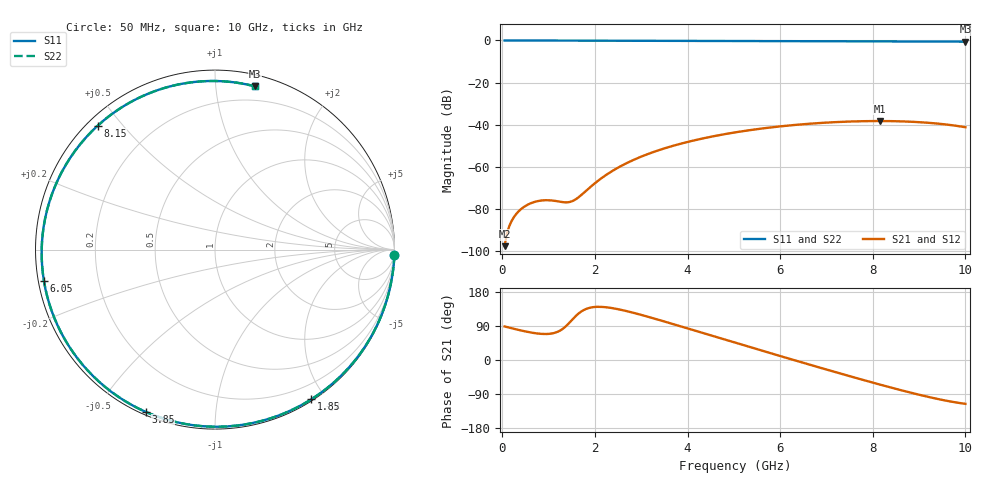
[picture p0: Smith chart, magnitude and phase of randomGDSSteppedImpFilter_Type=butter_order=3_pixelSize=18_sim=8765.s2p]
! freq	dB(S11)	phase(S11)	dB(S12)	phase(S12)
!  dB(S21)	phase(S21)	dB(S22)	phase(S22)
!S-par simulation data
#  GHz  S  DB  R 50
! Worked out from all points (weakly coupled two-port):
!   200 points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, 50 MHz to 10 GHz, reference 50 ohm
!   highest |S21| = -38.20 dB at 8.15 GHz (marker M1); lowest = -97.5 dB at 50 MHz (marker M2)
!   lowest |S11| = -0.6 dB at 10 GHz (marker M3), VSWR 30.40, Z = 4.31 + j63.6 ohm
!   |S11| at or under -10 dB: nowhere
!   |S22| runs from -0.6 to 0.0 dB; largest |S21 - S12| = 0
!   S11 on the Smith chart (normalised r, x): 50 MHz: 0, -71; 1.85 GHz: 0.02, -1.83; 3.85 GHz: 0.01, -0.66; 6.05 GHz: 0.02, -0.09; 8.15 GHz: 0.03, +0.43; 10 GHz: 0.09, +1.27
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0.05  -0.00 -1.6  -97.52 88.5  -97.52 88.5  -0.00 -1.6
0.4  -0.02 -12.7  -80.05 78.0  -80.05 78.0  -0.02 -12.7
0.6  -0.03 -19.0  -77.32 72.9  -77.32 72.9  -0.03 -19.0
0.85  -0.03 -26.8  -75.86 68.9  -75.86 68.9  -0.03 -26.8
1.45  -0.06 -45.3  -76.60 98.4  -76.60 98.4  -0.06 -45.3
1.6  -0.06 -49.8  -75.10 117.6  -75.10 117.6  -0.06 -49.8
1.75  -0.07 -54.3  -72.43 131.3  -72.43 131.3  -0.07 -54.3
1.85  -0.07 -57.3  -70.48 136.5  -70.48 136.5  -0.07 -57.3
2.2  -0.09 -67.5  -64.38 139.7  -64.38 139.7  -0.09 -67.6
2.55  -0.10 -77.6  -59.69 132.8  -59.69 132.8  -0.10 -77.6
2.95  -0.11 -88.8  -55.52 120.7  -55.52 120.7  -0.11 -88.8
3.4  -0.13 -101.1  -51.87 105.2  -51.87 105.2  -0.13 -101.1
3.85  -0.15 -113.1  -48.96 88.9  -48.96 88.9  -0.15 -113.1
4.4  -0.17 -127.5  -46.13 68.8  -46.13 68.8  -0.17 -127.5
5.05  -0.21 -144.1  -43.50 45.0  -43.50 45.0  -0.21 -144.2
6.05  -0.27 -169.7  -40.62 8.7  -40.62 8.7  -0.27 -169.7
6.7  -0.32 173.4  -39.37 -14.6  -39.37 -14.6  -0.32 173.4
7.4  -0.38 154.6  -38.52 -39.2  -38.52 -39.2  -0.38 154.6
8.15  -0.44 133.4  -38.20 -64.7  -38.20 -64.7  -0.44 133.4
8.35  -0.46 127.6  -38.23 -71.3  -38.23 -71.3  -0.46 127.5
9.2  -0.52 101.7  -39.03 -97.4  -39.03 -97.4  -0.52 101.7
10  -0.57 76.2  -41.14 -115.6  -41.14 -115.6  -0.57 76.2
